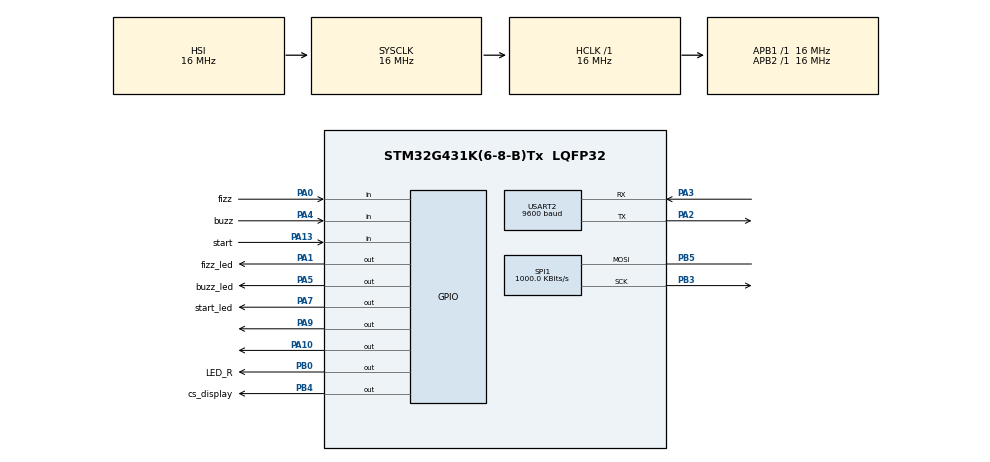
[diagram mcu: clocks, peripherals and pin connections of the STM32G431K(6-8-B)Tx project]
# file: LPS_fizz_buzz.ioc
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Mcu.Family=STM32G4
Mcu.Name=STM32G431K(6-8-B)Tx
Mcu.Package=LQFP32
NVIC.PriorityGroup=NVIC_PRIORITYGROUP_4
NVIC.TIM3_IRQn=true\:0\:0\:false\:false\:true\:true\:true\:true
PA0.GPIO_Label=fizz
PA0.GPIO_PuPd=GPIO_PULLDOWN
PA0.Signal=GPIO_Input
PA1.GPIO_Label=fizz_led
PA1.Signal=GPIO_Output
PA10.Signal=GPIO_Output
PA13.GPIO_Label=start
PA13.GPIO_PuPd=GPIO_PULLDOWN
PA13.Signal=GPIO_Input
PA2.Mode=Asynchronous
PA2.Signal=USART2_TX
PA3.Mode=Asynchronous
PA3.Signal=USART2_RX
PA4.GPIO_Label=buzz
PA4.GPIO_PuPd=GPIO_PULLDOWN
PA4.Signal=GPIO_Input
PA5.GPIO_Label=buzz_led
PA5.Signal=GPIO_Output
PA7.GPIO_Label=start_led
PA7.Signal=GPIO_Output
PA9.Signal=GPIO_Output
PB0.GPIO_Label=LED_R
PB0.Signal=GPIO_Output
PB3.Mode=Simplex_Bidirectional_Master
PB3.Signal=SPI1_SCK
PB4.GPIO_Label=cs_display
PB4.Signal=GPIO_Output
PB5.Mode=Simplex_Bidirectional_Master
PB5.Signal=SPI1_MOSI
PF0-OSC_IN.Mode=HSE-External-Oscillator
PF0-OSC_IN.Signal=RCC_OSC_IN
PF1-OSC_OUT.Mode=HSE-External-Oscillator
PF1-OSC_OUT.Signal=RCC_OSC_OUT
ProjectManager.HeapSize=0x200
ProjectManager.StackSize=0x400
ProjectManager.TargetToolchain=STM32CubeIDE
RCC.AHBFreq_Value=16000000
RCC.APB1Freq_Value=16000000
RCC.APB1TimFreq_Value=16000000
RCC.APB2Freq_Value=16000000
RCC.APB2TimFreq_Value=16000000
RCC.CortexFreq_Value=16000000
RCC.EXTERNAL_CLOCK_VALUE=12288000
RCC.HCLKFreq_Value=16000000
RCC.HSE_VALUE=8000000
RCC.HSI48_VALUE=48000000
RCC.HSI_VALUE=16000000
RCC.LSE_VALUE=32768
RCC.SYSCLKFreq_VALUE=16000000
RCC.USBFreq_Value=64000000
RCC.VCOOutputFreq_Value=128000000
SPI1.BaudRatePrescaler=SPI_BAUDRATEPRESCALER_16
SPI1.CalculateBaudRate=1000.0 KBits/s
SPI1.DataSize=SPI_DATASIZE_8BIT
SPI1.Direction=SPI_DIRECTION_1LINE
SPI1.FirstBit=SPI_FIRSTBIT_MSB
SPI1.Mode=SPI_MODE_MASTER
SPI1.VirtualType=VM_MASTER
TIM3.ClockDivision=TIM_CLOCKDIVISION_DIV1
TIM3.PeriodNoDither=799
TIM3.Prescaler=15999
USART2.BaudRate=9600
USART2.VirtualMode-Asynchronous=VM_ASYNC
VP_TIM3_VS_ClockSourceINT.Mode=Internal
board=custom

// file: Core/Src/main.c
/* USER CODE BEGIN Header */
/**
  ******************************************************************************
  * @file           : main.c
  * @brief          : Main program body
  ******************************************************************************
  * @attention
  *
  * Copyright (c) 2024 STMicroelectronics.
  * All rights reserved.
  *
  * This software is licensed under terms that can be found in the LICENSE file
  * in the root directory of this software component.
  * If no LICENSE file comes with this software, it is provided AS-IS.
  *
  ******************************************************************************
  */
/* USER CODE END Header */
#include "main.h"

/* USER CODE BEGIN Includes */
#include "MAX7219.h"
/* USER CODE END Includes */

/* USER CODE BEGIN PD */
#define boot 1
#define ready 2
#define start 3
#define play 4
#define gameover 5
#define button_press_limit 70
/* USER CODE END PD */

SPI_HandleTypeDef hspi1;

TIM_HandleTypeDef htim3;

UART_HandleTypeDef huart2;

/* USER CODE BEGIN PV */
GPIO_PinState button;
uint8_t main_counter = 0;
uint8_t aux_counter = 0;
uint8_t last_main_counter = 0;
uint8_t fizz = 0;
uint8_t buzz = 0;
uint8_t start_count = 0;
uint8_t state = boot;

/* USER CODE END PV */

void SystemClock_Config(void);
static void MX_GPIO_Init(void);
static void MX_TIM3_Init(void);
static void MX_USART2_UART_Init(void);
static void MX_SPI1_Init(void);

int main(void)
{

  /* MCU Configuration--------------------------------------------------------*/

  /* Reset of all peripherals, Initializes the Flash interface and the Systick. */
  HAL_Init();

  /* Configure the system clock */
  SystemClock_Config();

  /* Initialize all configured peripherals */
  MX_GPIO_Init();
  MX_TIM3_Init();
  MX_USART2_UART_Init();
  MX_SPI1_Init();
  /* USER CODE BEGIN 2 */
  HAL_TIM_Base_Start_IT(&htim3);
  GPIO_PinState fizz_button;
  GPIO_PinState buzz_button;
  GPIO_PinState start_button;

  max7219_Init(7);
  max7219_Decode_On();
  /* USER CODE END 2 */

  /* Infinite loop */
  /* USER CODE BEGIN WHILE */

  state = boot;
  HAL_GPIO_WritePin(start_led_GPIO_Port, start_led_Pin, GPIO_PIN_SET);
  uint32_t displayNumber=88888888;
  max7219_Clean();
  max7219_PrintItos(DIGIT_8, displayNumber);
  for (int i = 0; i < 3; ++i) {
	  HAL_Delay(250*i);
	  max7219_Clean();
	  HAL_GPIO_WritePin(buzz_led_GPIO_Port, buzz_led_Pin, GPIO_PIN_RESET);
	  HAL_GPIO_WritePin(fizz_led_GPIO_Port, fizz_led_Pin, GPIO_PIN_RESET);
	  HAL_Delay(750);
	  max7219_PrintItos(DIGIT_8, displayNumber);
	  HAL_GPIO_WritePin(buzz_led_GPIO_Port, buzz_led_Pin, GPIO_PIN_SET);
	  HAL_GPIO_WritePin(fizz_led_GPIO_Port, fizz_led_Pin, GPIO_PIN_SET);
}
  max7219_Clean();
  state = ready;
  HAL_GPIO_WritePin(start_led_GPIO_Port, start_led_Pin, GPIO_PIN_RESET);
  HAL_GPIO_WritePin(buzz_led_GPIO_Port, buzz_led_Pin, GPIO_PIN_RESET);
  HAL_GPIO_WritePin(fizz_led_GPIO_Port, fizz_led_Pin, GPIO_PIN_RESET);

  while (1)
  {
	  fizz_button = HAL_GPIO_ReadPin(fizz_GPIO_Port, fizz_Pin);
	  if (fizz_button == GPIO_PIN_SET){
		  fizz++;
		  HAL_GPIO_WritePin(fizz_led_GPIO_Port, fizz_led_Pin, GPIO_PIN_SET);
	  }
	  buzz_button = HAL_GPIO_ReadPin(buzz_GPIO_Port, buzz_Pin);
	  if (buzz_button == GPIO_PIN_SET){
		  buzz++;
		  HAL_GPIO_WritePin(buzz_led_GPIO_Port, buzz_led_Pin, GPIO_PIN_SET);
	  }
	  start_button = HAL_GPIO_ReadPin(start_GPIO_Port, start_Pin);
	  if (start_button == GPIO_PIN_RESET){
		  start_count++;
	  }

	  if (state == gameover){
		  uint32_t displayNumber = last_main_counter-1;
			max7219_Clean();
			max7219_PrintItos(DIGIT_4, displayNumber);
//			uint8_t msg[22];
//			sprintf(msg, "GAME OVER. Score: %d\r\n", displayNumber);
//			HAL_UART_Transmit(&huart2, msg, sizeof(msg), 1000);
		  for (int i = 0; i < 5; ++i) {
			HAL_Delay(800);
			HAL_GPIO_WritePin(buzz_led_GPIO_Port, buzz_led_Pin, GPIO_PIN_RESET);
			HAL_GPIO_WritePin(fizz_led_GPIO_Port, fizz_led_Pin, GPIO_PIN_RESET);

			HAL_Delay(200);
			HAL_GPIO_WritePin(buzz_led_GPIO_Port, buzz_led_Pin, GPIO_PIN_SET);
			HAL_GPIO_WritePin(fizz_led_GPIO_Port, fizz_led_Pin, GPIO_PIN_SET);
		}
		 state = ready;
		 start_count = 0;
		 fizz = 0;
		 buzz = 0;

		 HAL_GPIO_WritePin(buzz_led_GPIO_Port, buzz_led_Pin, GPIO_PIN_RESET);
		 HAL_GPIO_WritePin(fizz_led_GPIO_Port, fizz_led_Pin, GPIO_PIN_RESET);
		 HAL_GPIO_WritePin(start_led_GPIO_Port, start_led_Pin, GPIO_PIN_RESET);
	  }

	  if (state == ready && start_count) {
		  HAL_GPIO_WritePin(start_led_GPIO_Port, start_led_Pin, GPIO_PIN_SET);
		  max7219_Clean();
//		  uint8_t msg_0[20];
//		  sprintf(msg_0, "Starting Sequence\r\n");
//		  HAL_UART_Transmit(&huart2, msg_0, sizeof(msg_0), 1000);
		  for (int i = 3; i > -1 ; --i) {
			  max7219_Clean();
			  max7219_PrintItos(DIGIT_4, i);
//			  uint8_t msg_1[23];
//			  sprintf(msg_1, "Starting Sequence: %d\r\n", i);
//			  HAL_UART_Transmit(&huart2, msg_1, sizeof(msg_1), 1000);
			  HAL_Delay(1000);
		}

		  HAL_GPIO_WritePin(start_led_GPIO_Port, start_led_Pin, GPIO_PIN_SET);
		  last_main_counter = 1;
		  main_counter = 1;
		  aux_counter = 0;
		  state = play;
		  max7219_PrintItos(DIGIT_4, 1);
//		  uint8_t msg_2[13];
//		  sprintf(msg_2, "STARTED %d\r\n", start_count);
//		  HAL_UART_Transmit(&huart2, msg_2, sizeof(msg_2), 1000);
		  start_count = 0;
		  fizz = 0;
		  buzz = 0;
	  }

	  if (last_main_counter + 1 == main_counter && state == play){
		  uint8_t notfizztime = last_main_counter % 3;
		  uint8_t notbuzztime = last_main_counter % 5;
		  if (!notfizztime){
			  if(fizz > button_press_limit){
//				  uint8_t msg[15];
//				  sprintf(msg, "Shout: FIZZ!\r\n");
//				  HAL_UART_Transmit(&huart2, msg, sizeof(msg), 1000);
				  fizz = 0;

			  }else{
				  state = gameover;
				  HAL_Delay(200);
			  }
		  }else{
			  if(fizz > button_press_limit){
				  state = gameover;
				  HAL_Delay(200);
			  }
		  }
		  //------------------------------------------------------------------------------------------------------------------------
		  if (!notbuzztime){
			  if(buzz > button_press_limit){
//				  uint8_t msg[15];
//				  sprintf(msg, "Shout: BUZZ!\r\n");
//				  HAL_UART_Transmit(&huart2, msg, sizeof(msg), 1000);
				  buzz = 0;
			  }else{
				  state = gameover;
				  HAL_Delay(200);
			  }
		  }else{
			  if(buzz > button_press_limit){
				  state = gameover;
				  HAL_Delay(200);
			  }
		  }
		  if(state == gameover){
			  continue;
		  }
//		uint8_t msg[12];
//		sprintf(msg, "Counter:%d\r\n", main_counter);
//		HAL_UART_Transmit(&huart2, msg, sizeof(msg), 1000);

		max7219_Clean();
		max7219_PrintItos(DIGIT_4, main_counter);

		HAL_GPIO_WritePin(buzz_led_GPIO_Port, buzz_led_Pin, GPIO_PIN_RESET);
		HAL_GPIO_WritePin(fizz_led_GPIO_Port, fizz_led_Pin, GPIO_PIN_RESET);
		last_main_counter++;
		fizz = 0;
		buzz = 0;
	  }
    /* USER CODE END WHILE */

  }
}

void SystemClock_Config(void)
{
  RCC_OscInitTypeDef RCC_OscInitStruct = {0};
  RCC_ClkInitTypeDef RCC_ClkInitStruct = {0};

  /** Configure the main internal regulator output voltage
  */
  HAL_PWREx_ControlVoltageScaling(PWR_REGULATOR_VOLTAGE_SCALE1);

  /** Initializes the RCC Oscillators according to the specified parameters
  * in the RCC_OscInitTypeDef structure.
  */
  RCC_OscInitStruct.OscillatorType = RCC_OSCILLATORTYPE_HSI;
  RCC_OscInitStruct.HSIState = RCC_HSI_ON;
  RCC_OscInitStruct.HSICalibrationValue = RCC_HSICALIBRATION_DEFAULT;
  RCC_OscInitStruct.PLL.PLLState = RCC_PLL_NONE;
  if (HAL_RCC_OscConfig(&RCC_OscInitStruct) != HAL_OK)
  {
    Error_Handler();
  }

  /** Initializes the CPU, AHB and APB buses clocks
  */
  RCC_ClkInitStruct.ClockType = RCC_CLOCKTYPE_HCLK|RCC_CLOCKTYPE_SYSCLK
                              |RCC_CLOCKTYPE_PCLK1|RCC_CLOCKTYPE_PCLK2;
  RCC_ClkInitStruct.SYSCLKSource = RCC_SYSCLKSOURCE_HSI;
  RCC_ClkInitStruct.AHBCLKDivider = RCC_SYSCLK_DIV1;
  RCC_ClkInitStruct.APB1CLKDivider = RCC_HCLK_DIV1;
  RCC_ClkInitStruct.APB2CLKDivider = RCC_HCLK_DIV1;

  if (HAL_RCC_ClockConfig(&RCC_ClkInitStruct, FLASH_LATENCY_0) != HAL_OK)
  {
    Error_Handler();
  }
}

static void MX_SPI1_Init(void)
{

  /* SPI1 parameter configuration*/
  hspi1.Instance = SPI1;
  hspi1.Init.Mode = SPI_MODE_MASTER;
  hspi1.Init.Direction = SPI_DIRECTION_1LINE;
  hspi1.Init.DataSize = SPI_DATASIZE_8BIT;
  hspi1.Init.CLKPolarity = SPI_POLARITY_LOW;
  hspi1.Init.CLKPhase = SPI_PHASE_1EDGE;
  hspi1.Init.NSS = SPI_NSS_SOFT;
  hspi1.Init.BaudRatePrescaler = SPI_BAUDRATEPRESCALER_16;
  hspi1.Init.FirstBit = SPI_FIRSTBIT_MSB;
  hspi1.Init.TIMode = SPI_TIMODE_DISABLE;
  hspi1.Init.CRCCalculation = SPI_CRCCALCULATION_DISABLE;
  hspi1.Init.CRCPolynomial = 7;
  hspi1.Init.CRCLength = SPI_CRC_LENGTH_DATASIZE;
  hspi1.Init.NSSPMode = SPI_NSS_PULSE_ENABLE;
  if (HAL_SPI_Init(&hspi1) != HAL_OK)
  {
    Error_Handler();
  }

}

static void MX_TIM3_Init(void)
{

  TIM_ClockConfigTypeDef sClockSourceConfig = {0};
  TIM_MasterConfigTypeDef sMasterConfig = {0};

  htim3.Instance = TIM3;
  htim3.Init.Prescaler = 15999;
  htim3.Init.CounterMode = TIM_COUNTERMODE_UP;
  htim3.Init.Period = 799;
  htim3.Init.ClockDivision = TIM_CLOCKDIVISION_DIV1;
  htim3.Init.AutoReloadPreload = TIM_AUTORELOAD_PRELOAD_DISABLE;
  if (HAL_TIM_Base_Init(&htim3) != HAL_OK)
  {
    Error_Handler();
  }
  sClockSourceConfig.ClockSource = TIM_CLOCKSOURCE_INTERNAL;
  if (HAL_TIM_ConfigClockSource(&htim3, &sClockSourceConfig) != HAL_OK)
  {
    Error_Handler();
  }
  sMasterConfig.MasterOutputTrigger = TIM_TRGO_RESET;
  sMasterConfig.MasterSlaveMode = TIM_MASTERSLAVEMODE_DISABLE;
  if (HAL_TIMEx_MasterConfigSynchronization(&htim3, &sMasterConfig) != HAL_OK)
  {
    Error_Handler();
  }

}

static void MX_USART2_UART_Init(void)
{

  huart2.Instance = USART2;
  huart2.Init.BaudRate = 9600;
  huart2.Init.WordLength = UART_WORDLENGTH_8B;
  huart2.Init.StopBits = UART_STOPBITS_1;
  huart2.Init.Parity = UART_PARITY_NONE;
  huart2.Init.Mode = UART_MODE_TX_RX;
  huart2.Init.HwFlowCtl = UART_HWCONTROL_NONE;
  huart2.Init.OverSampling = UART_OVERSAMPLING_16;
  huart2.Init.OneBitSampling = UART_ONE_BIT_SAMPLE_DISABLE;
  huart2.Init.ClockPrescaler = UART_PRESCALER_DIV1;
  huart2.AdvancedInit.AdvFeatureInit = UART_ADVFEATURE_NO_INIT;
  if (HAL_UART_Init(&huart2) != HAL_OK)
  {
    Error_Handler();
  }
  if (HAL_UARTEx_SetTxFifoThreshold(&huart2, UART_TXFIFO_THRESHOLD_1_8) != HAL_OK)
  {
    Error_Handler();
  }
  if (HAL_UARTEx_SetRxFifoThreshold(&huart2, UART_RXFIFO_THRESHOLD_1_8) != HAL_OK)
  {
    Error_Handler();
  }
  if (HAL_UARTEx_DisableFifoMode(&huart2) != HAL_OK)
  {
    Error_Handler();
  }

}

static void MX_GPIO_Init(void)
{
  GPIO_InitTypeDef GPIO_InitStruct = {0};

  /* GPIO Ports Clock Enable */
  __HAL_RCC_GPIOF_CLK_ENABLE();
  __HAL_RCC_GPIOA_CLK_ENABLE();
  __HAL_RCC_GPIOB_CLK_ENABLE();

  /*Configure GPIO pin Output Level */
  HAL_GPIO_WritePin(GPIOA, fizz_led_Pin|buzz_led_Pin|start_led_Pin|GPIO_PIN_9
                          |GPIO_PIN_10, GPIO_PIN_RESET);

  /*Configure GPIO pin Output Level */
  HAL_GPIO_WritePin(GPIOB, LED_R_Pin|cs_display_Pin, GPIO_PIN_RESET);

  /*Configure GPIO pins : fizz_Pin buzz_Pin start_Pin */
  GPIO_InitStruct.Pin = fizz_Pin|buzz_Pin|start_Pin;
  GPIO_InitStruct.Mode = GPIO_MODE_INPUT;
  GPIO_InitStruct.Pull = GPIO_PULLDOWN;
  HAL_GPIO_Init(GPIOA, &GPIO_InitStruct);

  /*Configure GPIO pins : fizz_led_Pin buzz_led_Pin start_led_Pin PA9
                           PA10 */
  GPIO_InitStruct.Pin = fizz_led_Pin|buzz_led_Pin|start_led_Pin|GPIO_PIN_9
                          |GPIO_PIN_10;
  GPIO_InitStruct.Mode = GPIO_MODE_OUTPUT_PP;
  GPIO_InitStruct.Pull = GPIO_NOPULL;
  GPIO_InitStruct.Speed = GPIO_SPEED_FREQ_LOW;
  HAL_GPIO_Init(GPIOA, &GPIO_InitStruct);

  /*Configure GPIO pins : LED_R_Pin cs_display_Pin */
  GPIO_InitStruct.Pin = LED_R_Pin|cs_display_Pin;
  GPIO_InitStruct.Mode = GPIO_MODE_OUTPUT_PP;
  GPIO_InitStruct.Pull = GPIO_NOPULL;
  GPIO_InitStruct.Speed = GPIO_SPEED_FREQ_LOW;
  HAL_GPIO_Init(GPIOB, &GPIO_InitStruct);

}

/* USER CODE BEGIN 4 */
HAL_TIM_PeriodElapsedCallback(TIM_HandleTypeDef tim){
	aux_counter++;
	if (aux_counter % 2 == 0){
		HAL_GPIO_TogglePin(LED_R_GPIO_Port, LED_R_Pin);
		main_counter++;
	}
}

/* USER CODE END 4 */

void Error_Handler(void)
{
  __disable_irq();
  while (1)
  {
  }
}
